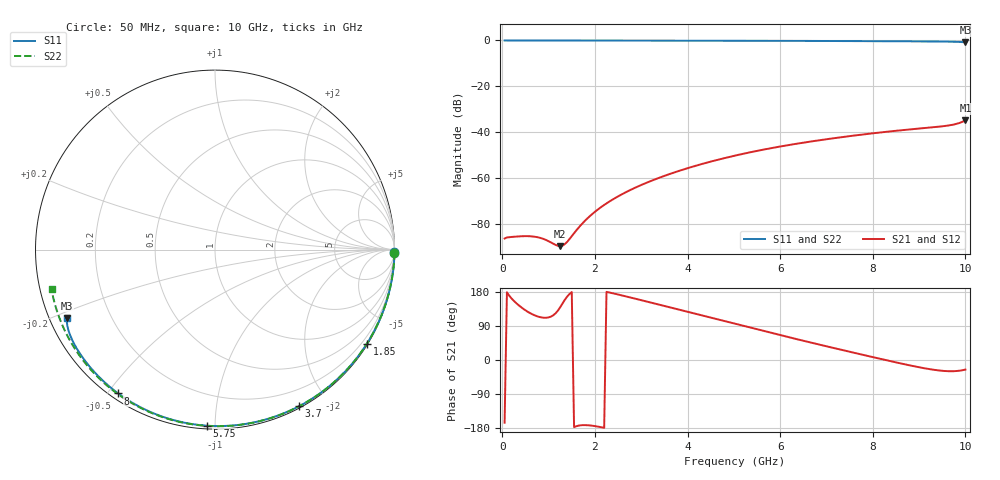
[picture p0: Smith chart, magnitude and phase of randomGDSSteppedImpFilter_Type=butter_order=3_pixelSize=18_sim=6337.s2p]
! freq	dB(S11)	phase(S11)	dB(S12)	phase(S12)
!  dB(S21)	phase(S21)	dB(S22)	phase(S22)
!S-par simulation data
#  GHz  S  DB  R 50
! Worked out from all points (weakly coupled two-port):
!   200 points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, 50 MHz to 10 GHz, reference 50 ohm
!   highest |S21| = -34.81 dB at 10 GHz (marker M1); lowest = -89.8 dB at 1.25 GHz (marker M2)
!   lowest |S11| = -0.8 dB at 10 GHz (marker M3), VSWR 21.03, Z = 2.49 - j11 ohm
!   |S11| at or under -10 dB: nowhere
!   |S22| runs from -0.6 to 0.0 dB; largest |S21 - S12| = 0
!   S11 on the Smith chart (normalised r, x): 50 MHz: open; 1.85 GHz: 0.03, -3.51; 3.7 GHz: 0.02, -1.67; 5.75 GHz: 0.02, -0.96; 8 GHz: 0.02, -0.53; 10 GHz: 0.05, -0.22
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0.05  -0.00 -0.9  -86.41 -165.5  -86.41 -165.5  -0.00 -1.0
0.65  -0.01 -11.3  -85.51 120.6  -85.51 120.6  -0.01 -12.4
1.25  -0.03 -21.6  -89.76 139.2  -89.76 139.2  -0.03 -23.7
1.7  -0.04 -29.2  -80.48 -172.2  -80.48 -172.2  -0.04 -32.1
1.75  -0.04 -30.1  -79.40 -171.9  -79.40 -171.9  -0.04 -33.0
1.85  -0.04 -31.8  -77.40 -172.2  -77.40 -172.2  -0.04 -34.8
2.15  -0.05 -36.8  -72.47 -177.7  -72.47 -177.7  -0.05 -40.3
2.5  -0.05 -42.6  -68.03 172.8  -68.03 172.8  -0.06 -46.7
2.9  -0.06 -49.1  -63.97 160.9  -63.97 160.9  -0.07 -53.8
3.4  -0.08 -57.1  -59.83 145.7  -59.83 145.7  -0.08 -62.5
3.7  -0.08 -61.8  -57.69 136.5  -57.69 136.5  -0.09 -67.7
4.35  -0.10 -71.9  -53.69 116.5  -53.69 116.5  -0.11 -78.6
5.05  -0.13 -82.4  -50.13 94.8  -50.13 94.8  -0.14 -90.1
5.75  -0.16 -92.6  -47.20 73.3  -47.20 73.3  -0.17 -101.2
6.7  -0.21 -106.0  -43.98 44.9  -43.98 44.9  -0.23 -115.9
7.35  -0.25 -115.0  -42.14 26.1  -42.14 26.1  -0.27 -125.8
8  -0.30 -123.9  -40.51 7.6  -40.51 7.6  -0.33 -135.6
8.35  -0.33 -128.7  -39.73 -2.1  -39.73 -2.1  -0.36 -140.9
9.05  -0.41 -138.4  -38.36 -20.3  -38.36 -20.3  -0.44 -151.5
9.6  -0.51 -146.8  -37.21 -29.4  -37.21 -29.4  -0.51 -160.0
9.85  -0.62 -151.5  -36.15 -28.6  -36.15 -28.6  -0.54 -163.9
10  -0.83 -155.2  -34.81 -25.2  -34.81 -25.2  -0.56 -166.3
